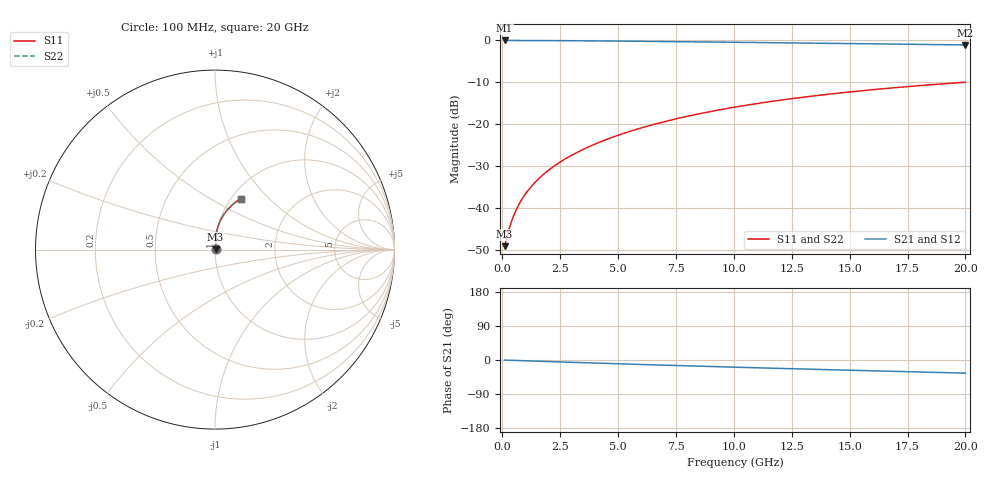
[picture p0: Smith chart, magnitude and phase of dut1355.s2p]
! Touchstone file exported from HFSS 2024.1.0
!  File:  C:/UserFiles/LocalFiles/RDL_TSV_Batchsim/temp_RDL_top_1355_1780366368.aedt
!  Generated:  10:15:09 AM Jun  2, 2026
!  Design:  RDL_top
!  Project:  temp_RDL_top_1355_1780366368
!  Setup:  Setup1
!  Solution:  Sweep
! Variables:
!  dtsv = 10.80580581um
!  hbump = 3um
!  htsv = 77.57um
!  ldown = 100um
!  lrdl = 474.78um
!  p = 40
!  p1 = 50.36um
!  rhole = 1um
!  t = 450um
!  tdown = 3.915915916um
!  trdl = 2.39um
!  wdown = 15.38538539um
!  wrdl = 24.61um
# GHz S MA R 50.000000
! Terminal data exported
! Port[1] = Box2_T1
! Port[2] = Box2_T2
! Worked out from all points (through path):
!   200 points, 100 MHz to 20 GHz, reference 50 ohm
!   highest |S21| = -0.03 dB at 100 MHz (marker M1); lowest = -1.1 dB at 20 GHz (marker M2)
!   group delay of S21, straight-line fit = 4.77 ps
!   lowest |S11| = -49.0 dB at 100 MHz (marker M3), VSWR 1.01, Z = 50.3 + j0.16 ohm
!   |S11| at or under -10 dB: start of sweep to 19.92 GHz
!   |S22| runs from -49.0 to -10.0 dB; largest |S21 - S12| = 3.1e-15
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0.1  0.003552 26.5  0.9968 -0.2  0.9968 -0.2  0.003552 26.5
! Gamma 0 0 0 0
! Port Impedance 50 0 50 0
0.3  0.005754 53.7  0.9965 -0.6  0.9965 -0.6  0.005754 53.7
0.4  0.007038 59.8  0.9963 -0.9  0.9963 -0.9  0.007038 59.8
0.5  0.008336 63.9  0.9961 -1.1  0.9961 -1.1  0.008336 63.9
0.6  0.009634 67.0  0.9959 -1.3  0.9959 -1.3  0.009634 67.0
0.8  0.01224 71.4  0.9956 -1.7  0.9956 -1.7  0.01224 71.3
1  0.01486 74.4  0.9952 -2.1  0.9952 -2.1  0.01486 74.4
1.2  0.01752 76.7  0.9948 -2.5  0.9948 -2.5  0.01752 76.7
1.7  0.02432 80.4  0.9936 -3.5  0.9936 -3.5  0.02432 80.4
2.2  0.03134 82.6  0.9922 -4.5  0.9922 -4.5  0.03134 82.6
2.8  0.04002 84.2  0.9902 -5.7  0.9902 -5.7  0.04002 84.2
3.5  0.05051 85.3  0.9873 -7.1  0.9873 -7.1  0.0505 85.2
4.2  0.06137 85.7  0.984 -8.5  0.984 -8.5  0.06136 85.7
5  0.0742 85.7  0.9799 -10.0  0.9799 -10.0  0.07418 85.7
5.9  0.08907 85.2  0.9748 -11.7  0.9748 -11.7  0.08904 85.2
6.8  0.1043 84.4  0.9694 -13.3  0.9694 -13.3  0.1043 84.4
8.4  0.1319 82.4  0.9593 -16.2  0.9593 -16.2  0.1318 82.4
10.1  0.1614 79.8  0.9483 -19.1  0.9483 -19.1  0.1613 79.8
11.7  0.1888 77.2  0.9378 -21.7  0.9378 -21.7  0.1887 77.2
13.4  0.2172 74.3  0.9265 -24.5  0.9265 -24.5  0.2171 74.2
16.7  0.2695 68.6  0.9044 -29.7  0.9044 -29.7  0.2693 68.6
20  0.3173 63.2  0.8823 -34.6  0.8823 -34.6  0.3171 63.2
